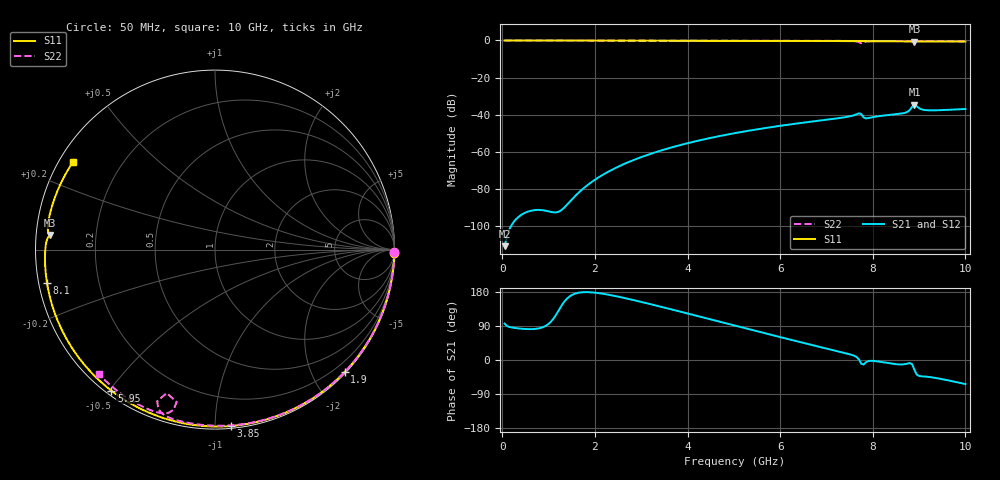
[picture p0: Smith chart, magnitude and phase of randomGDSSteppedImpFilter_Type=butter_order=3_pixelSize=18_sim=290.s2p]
! freq	dB(S11)	phase(S11)	dB(S12)	phase(S12)
!  dB(S21)	phase(S21)	dB(S22)	phase(S22)
!S-par simulation data
#  GHz  S  DB  R 50
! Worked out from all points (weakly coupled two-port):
!   200 points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, 50 MHz to 10 GHz, reference 50 ohm
!   highest |S21| = -34.47 dB at 8.9 GHz (marker M1); lowest = -110.6 dB at 50 MHz (marker M2)
!   lowest |S11| = -0.7 dB at 8.9 GHz (marker M3), VSWR 24.45, Z = 2.05 + j2.21 ohm
!   |S11| at or under -10 dB: nowhere
!   |S22| runs from -1.5 to 0.0 dB; largest |S21 - S12| = 0
!   S11 on the Smith chart (normalised r, x): 50 MHz: 0, -97; 1.9 GHz: 0.02, -2.51; 3.85 GHz: 0.01, -1.09; 5.95 GHz: 0.02, -0.51; 8.1 GHz: 0.02, -0.10; 10 GHz: 0.04, +0.28
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0.05  -0.00 -1.2  -110.63 96.2  -110.63 96.2  -0.00 -0.8
0.85  -0.03 -19.7  -91.23 85.4  -91.23 85.4  -0.02 -13.0
1.75  -0.05 -40.1  -79.59 178.9  -79.59 178.9  -0.03 -26.6
1.9  -0.06 -43.4  -76.65 178.7  -76.65 178.7  -0.04 -28.8
2.55  -0.07 -57.6  -67.33 165.9  -67.33 165.9  -0.05 -38.4
3.4  -0.10 -75.6  -59.40 141.3  -59.40 141.3  -0.07 -50.7
3.85  -0.12 -84.9  -56.22 127.5  -56.22 127.5  -0.08 -57.0
5.05  -0.17 -108.8  -49.72 89.9  -49.72 89.9  -0.11 -73.3
5.95  -0.22 -126.3  -46.08 62.0  -46.08 62.0  -0.15 -85.1
6.7  -0.27 -140.8  -43.56 39.1  -43.56 39.1  -0.18 -94.7
7.55  -0.35 -157.5  -40.53 13.3  -40.53 13.3  -0.31 -106.9
7.7  -0.36 -160.5  -39.20 1.7  -39.20 1.7  -0.87 -110.9
7.75  -0.37 -161.6  -39.53 -9.5  -39.53 -9.5  -1.48 -108.6
7.8  -0.37 -162.6  -41.36 -12.1  -41.36 -12.1  -1.15 -104.1
7.85  -0.38 -163.6  -41.94 -6.1  -41.94 -6.1  -0.69 -104.5
8.1  -0.41 -168.7  -40.83 -3.6  -40.83 -3.6  -0.33 -109.7
8.35  -0.44 -174.0  -40.08 -8.6  -40.08 -8.6  -0.32 -113.2
8.75  -0.54 177.0  -38.38 -9.4  -38.38 -9.4  -0.35 -118.2
8.9  -0.71 174.9  -34.47 -26.2  -34.47 -26.2  -0.36 -119.9
9  -0.54 172.9  -36.44 -42.2  -36.44 -42.2  -0.35 -121.1
9.15  -0.52 169.1  -37.48 -43.9  -37.48 -43.9  -0.37 -122.9
10  -0.63 148.4  -36.87 -63.6  -36.87 -63.6  -0.46 -132.9
